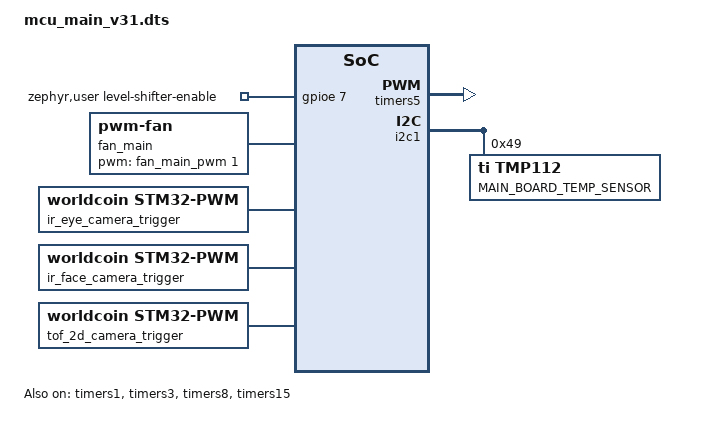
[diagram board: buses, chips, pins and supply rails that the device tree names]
/dts-v1/;

#include "mcu_main_common.dts"

/ {
    zephyr,user {
        level-shifter-enable-gpios = <&gpioe 7 GPIO_ACTIVE_HIGH>;
    };

    supply_5v {
        enable-gpios = <&gpiob 1 GPIO_ACTIVE_LOW>;
    };

    supply_pvcc {
        enable-gpios = <&gpioe 6 GPIO_ACTIVE_HIGH>;
    };

    supply_super_cap {
        enable-gpios = <&gpioe 4 GPIO_ACTIVE_HIGH>;
    };

    jetson_power_pins {
        power_enable {
            gpios = <&gpioe 12 GPIO_ACTIVE_HIGH>;
        };

        sleep_wake {
            gpios = <&gpioe 9 GPIO_ACTIVE_LOW>;
        };
    };

    fan_main {
        compatible = "pwm-fan";
        pwms = <&fan_main_pwm 1 10000 PWM_POLARITY_NORMAL>;
    };
};

&timers1 {
    status = "okay";

    led_740nm: led_740nm {
        compatible = "worldcoin,stm32-pwm";
        pinctrl-0 = <&tim1_ch2n_pb0>;
        pinctrl-names = "default";
        channels = <2>;
    };
};

&timers3 {
    status = "okay";

    led_940nm: led_940nm {
        compatible = "worldcoin,stm32-pwm";
        pinctrl-0 = <&tim3_ch1_pe2 &tim3_ch4_pe5>;
        pinctrl-names = "default";
        channels = <1 4>;
    };
};

&timers5 {
    status = "okay";

    fan_main_pwm: pwm {
        status = "okay";
        pinctrl-0 = <&tim5_ch1_pb2>;
        pinctrl-names = "default";
    };
};

&timers8 {
    status = "okay";

    // AKA CAM0
    ir_eye_camera_trigger: ir_eye_camera_trigger {
        compatible = "worldcoin,stm32-pwm";
        pinctrl-0 = <&tim8_ch3_pc8>;
        pinctrl-names = "default";
        channels = <3>;
    };

    // AKA CAM2
    ir_face_camera_trigger: ir_face_camera_trigger {
        compatible = "worldcoin,stm32-pwm";
        pinctrl-0 = <&tim8_ch4_pc9>;
        pinctrl-names = "default";
        channels = <4>;
    };

    // AKA CAM3
    tof_2d_camera_trigger: tof_2d_camera_trigger {
        compatible = "worldcoin,stm32-pwm";
        pinctrl-0 = <&tim8_ch1_pc6>;
        pinctrl-names = "default";
        channels = <1>;
    };
};

&timers15 {
    status = "okay";

    led_850nm: led_850nm {
        compatible = "worldcoin,stm32-pwm";
        pinctrl-0 = <&tim15_ch1_pb14 &tim15_ch2_pb15>;
        pinctrl-names = "default";
        channels = <1 2>;
    };
};

&i2c1 {
    main_board_tmp_sensor: tmp112@49 {
        compatible = "ti,tmp112";
        reg = <0x49>;
        label = "MAIN_BOARD_TEMP_SENSOR";
    };
};
